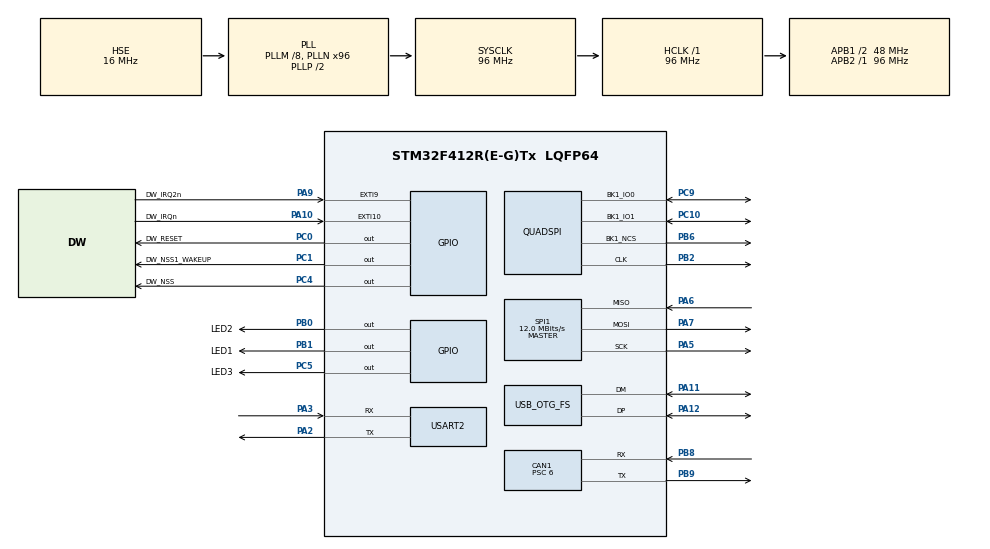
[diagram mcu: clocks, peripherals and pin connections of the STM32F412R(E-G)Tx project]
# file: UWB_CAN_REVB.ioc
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CAN1.BS1=CAN_BS1_13TQ
CAN1.BS2=CAN_BS2_2TQ
CAN1.CalculateBaudRate=500000
CAN1.CalculateTimeBit=2000
CAN1.CalculateTimeQuantum=125.0
CAN1.NART=ENABLE
CAN1.Prescaler=6
Mcu.Family=STM32F4
Mcu.Name=STM32F412R(E-G)Tx
Mcu.Package=LQFP64
NVIC.CAN1_RX0_IRQn=true\:0\:0\:false\:false\:true\:true\:true\:true
NVIC.EXTI15_10_IRQn=true\:0\:0\:false\:false\:true\:true\:true\:true
NVIC.EXTI9_5_IRQn=true\:0\:0\:false\:false\:true\:true\:true\:true
NVIC.OTG_FS_IRQn=true\:0\:0\:false\:false\:true\:false\:true\:true
NVIC.PriorityGroup=NVIC_PRIORITYGROUP_4
NVIC.USART2_IRQn=true\:0\:0\:false\:false\:true\:true\:true\:true
PA10.GPIO_Label=DW_IRQn
PA10.Signal=GPXTI10
PA11.Mode=Device_Only
PA11.Signal=USB_OTG_FS_DM
PA12.Mode=Device_Only
PA12.Signal=USB_OTG_FS_DP
PA13.Mode=Trace_Asynchronous_SW
PA13.Signal=SYS_JTMS-SWDIO
PA14.Mode=Trace_Asynchronous_SW
PA14.Signal=SYS_JTCK-SWCLK
PA2.Mode=Asynchronous
PA2.Signal=USART2_TX
PA3.Mode=Asynchronous
PA3.Signal=USART2_RX
PA5.Mode=Full_Duplex_Master
PA5.Signal=SPI1_SCK
PA6.Mode=Full_Duplex_Master
PA6.Signal=SPI1_MISO
PA7.Mode=Full_Duplex_Master
PA7.Signal=SPI1_MOSI
PA9.GPIO_Label=DW_IRQ2n
PA9.Signal=GPXTI9
PB0.GPIO_Label=LED2
PB0.Signal=GPIO_Output
PB1.GPIO_Label=LED1
PB1.Signal=GPIO_Output
PB2.GPIO_Speed=GPIO_SPEED_FREQ_VERY_HIGH
PB2.Mode=Single Bank 1 2IOs
PB2.Signal=QUADSPI_CLK
PB3.Mode=Trace_Asynchronous_SW
PB3.Signal=SYS_JTDO-SWO
PB6.GPIO_Speed=GPIO_SPEED_FREQ_VERY_HIGH
PB6.Mode=Single Bank 1 2IOs
PB6.Signal=QUADSPI_BK1_NCS
PB8.GPIO_PuPd=GPIO_NOPULL
PB8.Mode=CAN_Activate
PB8.Signal=CAN1_RX
PB9.Mode=CAN_Activate
PB9.Signal=CAN1_TX
PC0.GPIO_Label=DW_RESET
PC0.GPIO_PuPd=GPIO_PULLUP
PC0.GPIO_Speed=GPIO_SPEED_FREQ_HIGH
PC0.PinState=GPIO_PIN_SET
PC0.Signal=GPIO_Output
PC1.GPIO_Label=DW_NSS1_WAKEUP
PC1.Signal=GPIO_Output
PC10.GPIO_Speed=GPIO_SPEED_FREQ_VERY_HIGH
PC10.Mode=Single Bank 1 2IOs
PC10.Signal=QUADSPI_BK1_IO1
PC4.GPIO_Label=DW_NSS
PC4.GPIO_PuPd=GPIO_PULLUP
PC4.GPIO_Speed=GPIO_SPEED_FREQ_MEDIUM
PC4.PinState=GPIO_PIN_SET
PC4.Signal=GPIO_Output
PC5.GPIO_Label=LED3
PC5.Signal=GPIO_Output
PC9.GPIO_Speed=GPIO_SPEED_FREQ_VERY_HIGH
PC9.Mode=Single Bank 1 2IOs
PC9.Signal=QUADSPI_BK1_IO0
PH0\ -\ OSC_IN.Mode=HSE-External-Oscillator
PH0\ -\ OSC_IN.Signal=RCC_OSC_IN
PH1\ -\ OSC_OUT.Mode=HSE-External-Oscillator
PH1\ -\ OSC_OUT.Signal=RCC_OSC_OUT
ProjectManager.HeapSize=0x200
ProjectManager.StackSize=0x400
ProjectManager.TargetToolchain=STM32CubeIDE
QUADSPI.ClockPrescaler=1
QUADSPI.FifoThreshold=4
QUADSPI.FlashSize=23
QUADSPI.SampleShifting=QSPI_SAMPLE_SHIFTING_HALFCYCLE
RCC.AHBFreq_Value=96000000
RCC.APB1CLKDivider=RCC_HCLK_DIV2
RCC.APB1Freq_Value=48000000
RCC.APB1TimFreq_Value=96000000
RCC.APB2Freq_Value=96000000
RCC.APB2TimFreq_Value=96000000
RCC.CortexFreq_Value=96000000
RCC.HCLKFreq_Value=96000000
RCC.HSE_VALUE=16000000
RCC.PLLI2SM=8
RCC.PLLI2SN=72
RCC.PLLI2SQ=3
RCC.PLLM=8
RCC.PLLN=96
RCC.PLLQ=4
RCC.RCC_TIM_PRescaler_Selection=RCC_TIMPRES_ACTIVATED
RCC.SYSCLKFreq_VALUE=96000000
RCC.SYSCLKSource=RCC_SYSCLKSOURCE_PLLCLK
RCC.USBFreq_Value=48000000
RCC.VCOOutputFreq_Value=192000000
SPI1.BaudRatePrescaler=SPI_BAUDRATEPRESCALER_8
SPI1.CalculateBaudRate=12.0 MBits/s
SPI1.Direction=SPI_DIRECTION_2LINES
SPI1.Mode=SPI_MODE_MASTER
SPI1.VirtualType=VM_MASTER
USART2.VirtualMode=VM_ASYNC
USB_DEVICE.CLASS_NAME_FS=CDC
USB_DEVICE.VirtualMode=Cdc
USB_DEVICE.VirtualModeFS=Cdc_FS
USB_OTG_FS.VirtualMode=Device_Only
VP_USB_DEVICE_VS_USB_DEVICE_CDC_FS.Mode=CDC_FS
board=custom

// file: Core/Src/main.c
/* USER CODE BEGIN Header */
/**
  ******************************************************************************
  * @file           : main.c
  * @brief          : Main program body
  ******************************************************************************
  * @attention
  *
  * Copyright (c) 2024 STMicroelectronics.
  * All rights reserved.
  *
  * This software is licensed under terms that can be found in the LICENSE file
  * in the root directory of this software component.
  * If no LICENSE file comes with this software, it is provided AS-IS.
  *
  ******************************************************************************
  */
/* USER CODE END Header */
#include "main.h"
#include "usb_device.h"

/* USER CODE BEGIN Includes */
#include "examples_defines.h"

#include <port.h>
#include <stm32f4xx_hal.h>
/* USER CODE END Includes */

/* USER CODE BEGIN PTD */

#include "usbd_core.h"
#include "usbd_desc.h"
#include "usbd_cdc.h"
#include "usbd_cdc_if.h"

/* USER CODE END PTD */

CAN_HandleTypeDef hcan1;

QSPI_HandleTypeDef hqspi;

SPI_HandleTypeDef hspi1;

UART_HandleTypeDef huart2;

/* USER CODE BEGIN PV */
SPI_HandleTypeDef *hcurrent_active_spi = &hspi1; //Is the current active SPI pointer - 1 or 2
uint16_t pin_io_active_spi = DW_NSS_Pin; //CS IO for SPI. Default SPI1
GPIO_PinState SPI_CS_state = GPIO_PIN_RESET; //Determine the CS for the IO
host_using_spi_e host_spi = SPI_1;

#define UNIT_TEST 0
#define WAIT_FOR_USB_CDC 0
/* USER CODE END PV */

void SystemClock_Config(void);
void PeriphCommonClock_Config(void);
static void MX_GPIO_Init(void);
static void MX_QUADSPI_Init(void);
static void MX_SPI1_Init(void);
static void MX_CAN1_Init(void);
static void MX_USART2_UART_Init(void);
/* USER CODE BEGIN PFP */
extern example_ptr example_pointer;

extern int unit_test_main(void);
extern uint8_t CDC_Transmit_FS(uint8_t *Buf, uint16_t Len);

/*! ------------------------------------------------------------------------------------------------------------------
 * @fn test_run_info()
 *
 * @brief  This gets run info from a test and sends it through virtual COM port.
 *
 * @param data - Message data, this data should be NULL string.
 *
 * output parameters
 *
 * no return value
 */
void test_run_info(unsigned char *data) {
	uint16_t data_length;

	data_length = strlen((const char*) data);
	CDC_Transmit_FS(data, data_length); /*Transmit the data through USB - Virtual port*/
	CDC_Transmit_FS((uint8_t*) "\n\r", 2); /*Transmit end of line through USB - Virtual port*/
}

CAN_TxHeaderTypeDef   TxHeader[6];
CAN_TxHeaderTypeDef   RxHeader[6];

uint8_t               TxData[8];
uint8_t RxData[8];
uint32_t              TxMailbox;
uint32_t timer;

void HAL_CAN_RxFifo0MsgPendingCallback(CAN_HandleTypeDef *hcan)
{
HAL_CAN_GetRxMessage(hcan, CAN_RX_FIFO0, &RxHeader, RxData); //Receive CAN bus message to canRX buffer
	HAL_GPIO_TogglePin(GPIOA, GPIO_PIN_3);// toggle PA3 LED

}

int deviceMode;

void LED_Switch(uint8_t led);
/* USER CODE END PFP */

/* USER CODE BEGIN 0 */

#define ANCHOR 1
#define TAG_ 2

/* USER CODE END 0 */

int main(void)
{
  /* USER CODE BEGIN 1 */

/*
 *
 * COMMENT ACCORDINGLY IF UWB BOARD IS ANCHOR OR TAG
 *
 * SEE "main.h" TO CHANGE ANCHOR NUMBER
 *
 */

//	deviceMode = ANCHOR;
	deviceMode = TAG_;
	build_examples();
  /* USER CODE END 1 */

  /* MCU Configuration--------------------------------------------------------*/

  /* Reset of all peripherals, Initializes the Flash interface and the Systick. */
  HAL_Init();

  /* Configure the system clock */
  SystemClock_Config();

/* Configure the peripherals common clocks */
  PeriphCommonClock_Config();

  /* Initialize all configured peripherals */
  MX_GPIO_Init();
  MX_QUADSPI_Init();
  MX_SPI1_Init();
  MX_USB_DEVICE_Init();
  MX_CAN1_Init();
  MX_USART2_UART_Init();
  /* USER CODE BEGIN 2 */

for (int i = 0; i<6; i++){
  TxHeader[i].DLC = 8; // Number of bites to be transmitted max- 8
  TxHeader[i].IDE = CAN_ID_STD;
  TxHeader[i].RTR = CAN_RTR_DATA;
  TxHeader[i].StdId = 0x500+i;

}

    HAL_CAN_Start(&hcan1); //Initialize CAN Bus
       HAL_CAN_ActivateNotification(&hcan1,CAN_IT_RX_FIFO0_MSG_PENDING);// Initialize CAN Bus Rx Interrupt

        timer = HAL_GetTick();

 	/* disable IRQ from DW3000*/
 	port_DisableEXT_IRQ();

 	/*Sleep to wait for USB CDC to initialise with host*/
 #ifdef WAIT_FOR_USB_CDC
 	Sleep(5000);
 #endif
 	/*
 	 * DW_RESET_Pin has been configured by CubeMx as Exti0 line
 	 * Reconfigure the line as Input
 	 */
 	//  setup_DWICRSTnIRQ(0);
 #define mastertx

 #if defined(mastertx)
 	if (UNIT_TEST) {
 		unit_test_main();
 	} else {

 		example_pointer();
 	}

 #endif
 //	int master = 1;
 	int master = 0;

 	HAL_Delay(100);
 	uint32_t t0 = HAL_GetTick();

  /* USER CODE END 2 */

  /* Infinite loop */
  while (1)
  {

    /* USER CODE BEGIN 3 */
		example_pointer();

	  HAL_Delay(10);
  }
  /* USER CODE END 3 */
}

void SystemClock_Config(void)
{
  RCC_OscInitTypeDef RCC_OscInitStruct = {0};
  RCC_ClkInitTypeDef RCC_ClkInitStruct = {0};

  /** Configure the main internal regulator output voltage
  */
  __HAL_RCC_PWR_CLK_ENABLE();
  __HAL_PWR_VOLTAGESCALING_CONFIG(PWR_REGULATOR_VOLTAGE_SCALE1);

  /** Initializes the RCC Oscillators according to the specified parameters
  * in the RCC_OscInitTypeDef structure.
  */
  RCC_OscInitStruct.OscillatorType = RCC_OSCILLATORTYPE_HSE;
  RCC_OscInitStruct.HSEState = RCC_HSE_ON;
  RCC_OscInitStruct.PLL.PLLState = RCC_PLL_ON;
  RCC_OscInitStruct.PLL.PLLSource = RCC_PLLSOURCE_HSE;
  RCC_OscInitStruct.PLL.PLLM = 8;
  RCC_OscInitStruct.PLL.PLLN = 96;
  RCC_OscInitStruct.PLL.PLLP = RCC_PLLP_DIV2;
  RCC_OscInitStruct.PLL.PLLQ = 4;
  RCC_OscInitStruct.PLL.PLLR = 2;
  if (HAL_RCC_OscConfig(&RCC_OscInitStruct) != HAL_OK)
  {
    Error_Handler();
  }

  /** Initializes the CPU, AHB and APB buses clocks
  */
  RCC_ClkInitStruct.ClockType = RCC_CLOCKTYPE_HCLK|RCC_CLOCKTYPE_SYSCLK
                              |RCC_CLOCKTYPE_PCLK1|RCC_CLOCKTYPE_PCLK2;
  RCC_ClkInitStruct.SYSCLKSource = RCC_SYSCLKSOURCE_PLLCLK;
  RCC_ClkInitStruct.AHBCLKDivider = RCC_SYSCLK_DIV1;
  RCC_ClkInitStruct.APB1CLKDivider = RCC_HCLK_DIV2;
  RCC_ClkInitStruct.APB2CLKDivider = RCC_HCLK_DIV1;

  if (HAL_RCC_ClockConfig(&RCC_ClkInitStruct, FLASH_LATENCY_3) != HAL_OK)
  {
    Error_Handler();
  }
}

void PeriphCommonClock_Config(void)
{
  RCC_PeriphCLKInitTypeDef PeriphClkInitStruct = {0};

  /** Initializes the peripherals clock
  */
  PeriphClkInitStruct.PeriphClockSelection = RCC_PERIPHCLK_TIM;
  PeriphClkInitStruct.TIMPresSelection = RCC_TIMPRES_ACTIVATED;
  if (HAL_RCCEx_PeriphCLKConfig(&PeriphClkInitStruct) != HAL_OK)
  {
    Error_Handler();
  }
}

static void MX_CAN1_Init(void)
{

  hcan1.Instance = CAN1;
  hcan1.Init.Prescaler = 6;
  hcan1.Init.Mode = CAN_MODE_NORMAL;
  hcan1.Init.SyncJumpWidth = CAN_SJW_1TQ;
  hcan1.Init.TimeSeg1 = CAN_BS1_13TQ;
  hcan1.Init.TimeSeg2 = CAN_BS2_2TQ;
  hcan1.Init.TimeTriggeredMode = DISABLE;
  hcan1.Init.AutoBusOff = DISABLE;
  hcan1.Init.AutoWakeUp = DISABLE;
  hcan1.Init.AutoRetransmission = ENABLE;
  hcan1.Init.ReceiveFifoLocked = DISABLE;
  hcan1.Init.TransmitFifoPriority = DISABLE;
  if (HAL_CAN_Init(&hcan1) != HAL_OK)
  {
    Error_Handler();
  }
  /* USER CODE BEGIN CAN1_Init 2 */

//  CAN_FilterTypeDef canfilterconfig;
//
//    canfilterconfig.FilterActivation = CAN_FILTER_ENABLE;
//    canfilterconfig.FilterBank = 18;  // which filter bank to use from the assigned ones
//    canfilterconfig.FilterFIFOAssignment = CAN_FILTER_FIFO0;
//    canfilterconfig.FilterIdHigh = 0x400<<5;
//    canfilterconfig.FilterIdLow = 0x0000;
//    canfilterconfig.FilterMaskIdHigh = 0x400<<5;
//    canfilterconfig.FilterMaskIdLow = 0x0000;
//    canfilterconfig.FilterMode = CAN_FILTERMODE_IDMASK;
//    canfilterconfig.FilterScale = CAN_FILTERSCALE_32BIT;
//    canfilterconfig.SlaveStartFilterBank = 20;  // how many filters to assign to the CAN1 (master can)
//
//    HAL_CAN_ConfigFilter(&hcan1, &canfilterconfig);

  /* USER CODE END CAN1_Init 2 */

}

static void MX_QUADSPI_Init(void)
{

  /* QUADSPI parameter configuration*/
  hqspi.Instance = QUADSPI;
  hqspi.Init.ClockPrescaler = 1;
  hqspi.Init.FifoThreshold = 4;
  hqspi.Init.SampleShifting = QSPI_SAMPLE_SHIFTING_HALFCYCLE;
  hqspi.Init.FlashSize = 23;
  hqspi.Init.ChipSelectHighTime = QSPI_CS_HIGH_TIME_1_CYCLE;
  hqspi.Init.ClockMode = QSPI_CLOCK_MODE_0;
  hqspi.Init.FlashID = QSPI_FLASH_ID_1;
  hqspi.Init.DualFlash = QSPI_DUALFLASH_DISABLE;
  if (HAL_QSPI_Init(&hqspi) != HAL_OK)
  {
    Error_Handler();
  }

}

static void MX_SPI1_Init(void)
{

  /* SPI1 parameter configuration*/
  hspi1.Instance = SPI1;
  hspi1.Init.Mode = SPI_MODE_MASTER;
  hspi1.Init.Direction = SPI_DIRECTION_2LINES;
  hspi1.Init.DataSize = SPI_DATASIZE_8BIT;
  hspi1.Init.CLKPolarity = SPI_POLARITY_LOW;
  hspi1.Init.CLKPhase = SPI_PHASE_1EDGE;
  hspi1.Init.NSS = SPI_NSS_SOFT;
  hspi1.Init.BaudRatePrescaler = SPI_BAUDRATEPRESCALER_8;
  hspi1.Init.FirstBit = SPI_FIRSTBIT_MSB;
  hspi1.Init.TIMode = SPI_TIMODE_DISABLE;
  hspi1.Init.CRCCalculation = SPI_CRCCALCULATION_DISABLE;
  hspi1.Init.CRCPolynomial = 10;
  if (HAL_SPI_Init(&hspi1) != HAL_OK)
  {
    Error_Handler();
  }

}

static void MX_USART2_UART_Init(void)
{

  huart2.Instance = USART2;
  huart2.Init.BaudRate = 115200;
  huart2.Init.WordLength = UART_WORDLENGTH_8B;
  huart2.Init.StopBits = UART_STOPBITS_1;
  huart2.Init.Parity = UART_PARITY_NONE;
  huart2.Init.Mode = UART_MODE_TX_RX;
  huart2.Init.HwFlowCtl = UART_HWCONTROL_NONE;
  huart2.Init.OverSampling = UART_OVERSAMPLING_16;
  if (HAL_UART_Init(&huart2) != HAL_OK)
  {
    Error_Handler();
  }

}

static void MX_GPIO_Init(void)
{
  GPIO_InitTypeDef GPIO_InitStruct = {0};

  /* GPIO Ports Clock Enable */
  __HAL_RCC_GPIOH_CLK_ENABLE();
  __HAL_RCC_GPIOC_CLK_ENABLE();
  __HAL_RCC_GPIOA_CLK_ENABLE();
  __HAL_RCC_GPIOB_CLK_ENABLE();

  /*Configure GPIO pin Output Level */
  HAL_GPIO_WritePin(GPIOC, DW_RESET_Pin|DW_NSS_Pin, GPIO_PIN_SET);

  /*Configure GPIO pin Output Level */
  HAL_GPIO_WritePin(GPIOC, DW_NSS1_WAKEUP_Pin|LED3_Pin, GPIO_PIN_RESET);

  /*Configure GPIO pin Output Level */
  HAL_GPIO_WritePin(GPIOB, LED2_Pin|LED1_Pin, GPIO_PIN_RESET);

  /*Configure GPIO pin : DW_RESET_Pin */
  GPIO_InitStruct.Pin = DW_RESET_Pin;
  GPIO_InitStruct.Mode = GPIO_MODE_OUTPUT_PP;
  GPIO_InitStruct.Pull = GPIO_PULLUP;
  GPIO_InitStruct.Speed = GPIO_SPEED_FREQ_HIGH;
  HAL_GPIO_Init(DW_RESET_GPIO_Port, &GPIO_InitStruct);

  /*Configure GPIO pins : DW_NSS1_WAKEUP_Pin LED3_Pin */
  GPIO_InitStruct.Pin = DW_NSS1_WAKEUP_Pin|LED3_Pin;
  GPIO_InitStruct.Mode = GPIO_MODE_OUTPUT_PP;
  GPIO_InitStruct.Pull = GPIO_NOPULL;
  GPIO_InitStruct.Speed = GPIO_SPEED_FREQ_LOW;
  HAL_GPIO_Init(GPIOC, &GPIO_InitStruct);

  /*Configure GPIO pin : DW_NSS_Pin */
  GPIO_InitStruct.Pin = DW_NSS_Pin;
  GPIO_InitStruct.Mode = GPIO_MODE_OUTPUT_PP;
  GPIO_InitStruct.Pull = GPIO_PULLUP;
  GPIO_InitStruct.Speed = GPIO_SPEED_FREQ_MEDIUM;
  HAL_GPIO_Init(DW_NSS_GPIO_Port, &GPIO_InitStruct);

  /*Configure GPIO pins : LED2_Pin LED1_Pin */
  GPIO_InitStruct.Pin = LED2_Pin|LED1_Pin;
  GPIO_InitStruct.Mode = GPIO_MODE_OUTPUT_PP;
  GPIO_InitStruct.Pull = GPIO_NOPULL;
  GPIO_InitStruct.Speed = GPIO_SPEED_FREQ_LOW;
  HAL_GPIO_Init(GPIOB, &GPIO_InitStruct);

  /*Configure GPIO pins : DW_IRQ2n_Pin DW_IRQn_Pin */
  GPIO_InitStruct.Pin = DW_IRQ2n_Pin|DW_IRQn_Pin;
  GPIO_InitStruct.Mode = GPIO_MODE_IT_RISING;
  GPIO_InitStruct.Pull = GPIO_NOPULL;
  HAL_GPIO_Init(GPIOA, &GPIO_InitStruct);

  /* EXTI interrupt init*/
  HAL_NVIC_SetPriority(EXTI9_5_IRQn, 0, 0);
  HAL_NVIC_EnableIRQ(EXTI9_5_IRQn);

  HAL_NVIC_SetPriority(EXTI15_10_IRQn, 0, 0);
  HAL_NVIC_EnableIRQ(EXTI15_10_IRQn);

}

/* USER CODE BEGIN 4 */

void SendMessageCAN(uint8_t node,  double distance) {

	TxData[0] = node;
	uint8_t *array;
	array = (uint8_t*)(&distance);

if ((HAL_GetTick()- timer)>10){
	timer = HAL_GetTick();
		if (HAL_CAN_AddTxMessage(&hcan1, &TxHeader, TxData, &TxMailbox) != HAL_OK)
		{
			HAL_CAN_AbortTxRequest(&hcan1, &TxMailbox);
		 //  Error_Handler ();
		}
}
}
/* USER CODE END 4 */

void Error_Handler(void)
{
  __disable_irq();
  while (1)
  {
  }
}
